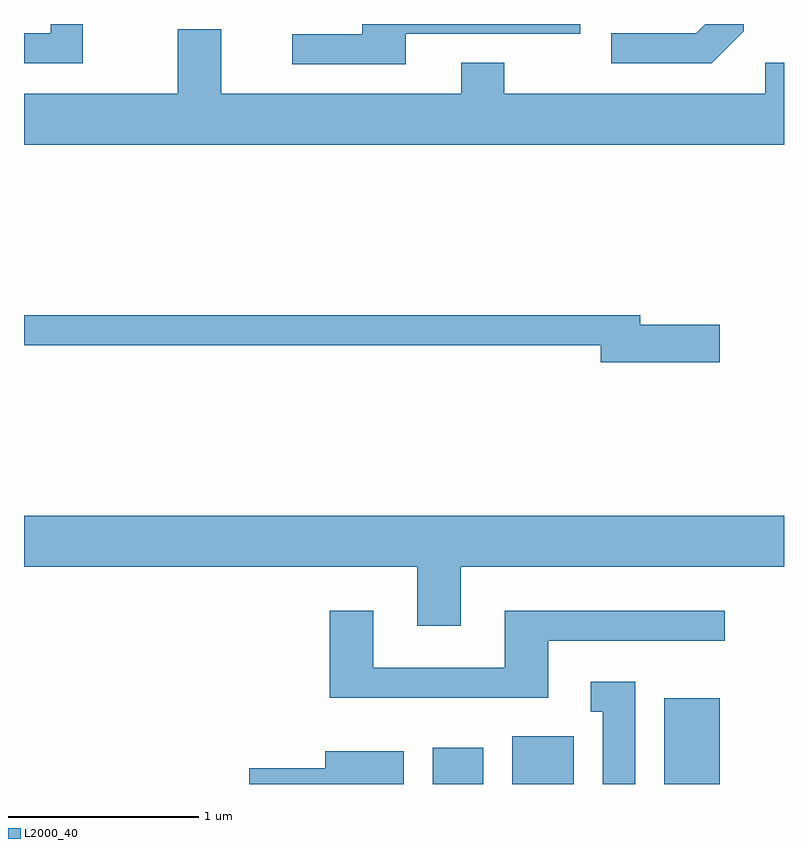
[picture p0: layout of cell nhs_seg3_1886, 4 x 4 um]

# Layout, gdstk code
import gdstk
lib = gdstk.Library(unit=1e-6, precision=1e-09)
def R(c, l, rs):  # rectangles x0, y0, x1, y1
    for r in rs: c.add(gdstk.rectangle(r[:2], r[2:], *l))
def P(c, l, *ps):  # polygons
    for p in ps: c.add(gdstk.Polygon(p, *l))
L2000_40 = (2000, 40)

nhs_seg3_1886 = lib.new_cell('nhs_seg3_1886')
R(nhs_seg3_1886, L2000_40, [(241.761,1215.892,242.029,1216.084), (242.181,1215.892,242.504,1216.144), (242.981,1215.892,243.274,1216.344)])
P(nhs_seg3_1886, L2000_40, [(239.919,1219.892),(239.751,1219.892),(239.751,1219.844),(239.611,1219.844),(239.611,1219.686),(239.919,1219.686)],
  [(241.619,1219.841),(242.539,1219.841),(242.539,1219.892),(241.391,1219.892),(241.391,1219.839),(241.023,1219.839),(241.023,1219.681),(241.619,1219.681)],
  [(243.399,1219.854),(243.399,1219.892),(243.196,1219.892),(243.149,1219.844),(242.703,1219.844),(242.703,1219.686),(243.232,1219.686)],
  [(243.611,1219.689),(243.511,1219.689),(243.511,1219.524),(242.139,1219.524),(242.139,1219.689),(241.911,1219.689),(241.911,1219.524),(240.649,1219.524),(240.649,1219.864),(240.421,1219.864),(240.421,1219.524),(239.611,1219.524),(239.611,1219.256),(243.611,1219.256)],
  [(243.274,1218.309),(242.854,1218.309),(242.854,1218.359),(239.611,1218.359),(239.611,1218.201),(242.646,1218.201),(242.646,1218.111),(243.274,1218.111)],
  [(241.909,1217.036),(243.611,1217.036),(243.611,1217.304),(239.611,1217.304),(239.611,1217.036),(241.681,1217.036),(241.681,1216.726),(241.909,1216.726)],
  [(242.369,1216.646),(243.298,1216.646),(243.298,1216.804),(242.141,1216.804),(242.141,1216.504),(241.449,1216.504),(241.449,1216.804),(241.221,1216.804),(241.221,1216.346),(242.369,1216.346)],
  [(242.829,1216.429),(242.593,1216.429),(242.593,1216.271),(242.656,1216.271),(242.656,1215.892),(242.829,1215.892)],
  [(241.609,1216.064),(241.196,1216.064),(241.196,1215.974),(240.796,1215.974),(240.796,1215.892),(241.609,1215.892)])

lib.write_gds('nhs_seg3_1886.gds')
